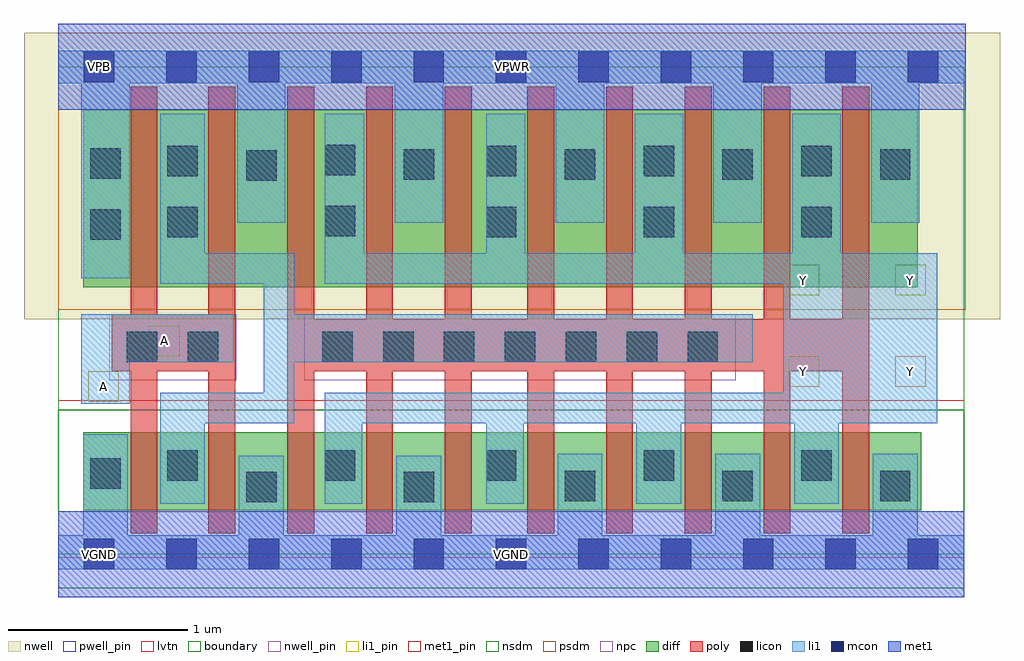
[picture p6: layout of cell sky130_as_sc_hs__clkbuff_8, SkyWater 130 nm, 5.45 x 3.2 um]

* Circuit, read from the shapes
.subckt sky130_as_sc_hs__clkbuff_8 A VGND VNB VPB VPWR Y
XM1 n1 A VGND VNB sky130_fd_pr__nfet_01v8_lvt w=0.435 l=0.15 m=2
XM2 Y n1 VGND VNB sky130_fd_pr__nfet_01v8_lvt w=0.435 l=0.15 m=8
XM3 n1 A VPWR VPB sky130_fd_pr__pfet_01v8 w=0.99 l=0.15 m=2
XM4 Y n1 VPWR VPB sky130_fd_pr__pfet_01v8 w=0.99 l=0.15 m=8
.ends

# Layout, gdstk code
import gdstk
lib = gdstk.Library(unit=1e-6, precision=1e-09)
def R(c, l, rs):  # rectangles x0, y0, x1, y1
    for r in rs: c.add(gdstk.rectangle(r[:2], r[2:], *l))
def A(c, l, x, y, w, h, nx, ny, dx, dy):  # array of equal rectangles
    R(c, l, [(x+i*dx, y+j*dy, x+i*dx+w, y+j*dy+h) for i in range(nx) for j in range(ny)])
nwell_pin = (64, 16)
nwell = (64, 20)
diff = (65, 20)
poly = (66, 20)
licon = (66, 44)
li1_pin = (67, 16)
li1 = (67, 20)
mcon = (67, 44)
met1_pin = (68, 16)
met1 = (68, 20)
nsdm = (93, 44)
psdm = (94, 20)
npc = (95, 20)
pwell_pin = (122, 16)
lvtn = (125, 44)
boundary = (235, 4)

sky130_as_sc_hs__clkbuff = lib.new_cell('sky130_as_sc_hs__clkbuff_8')
R(sky130_as_sc_hs__clkbuff, nwell_pin, [(0.145,2.635,0.315,2.805)])
R(sky130_as_sc_hs__clkbuff, nwell, [(-0.19,1.31,5.26,2.91)])
R(sky130_as_sc_hs__clkbuff, diff, [(0.14,0.245,4.82,0.68), (0.14,1.49,4.8,2.48)])
A(sky130_as_sc_hs__clkbuff, poly, 0.84, 0.115, 0.15, 0.905, 4, 1, 0.44, 0)
A(sky130_as_sc_hs__clkbuff, poly, 2.62, 0.115, 0.15, 0.905, 5, 1, 0.44, 0)
A(sky130_as_sc_hs__clkbuff, poly, 1.28, 1.31, 0.15, 1.3, 3, 1, 0.44, 0)
A(sky130_as_sc_hs__clkbuff, poly, 2.62, 1.31, 0.15, 1.3, 5, 1, 0.44, 0)
R(sky130_as_sc_hs__clkbuff, poly, [(0.405,0.115,0.555,1.02), (0.3,1.02,0.99,1.34), (1.28,1.02,4.53,1.31), (0.405,1.34,0.555,2.61), (0.84,1.34,0.99,2.61)])
A(sky130_as_sc_hs__clkbuff, licon, 2.83, 0.295, 0.17, 0.17, 3, 2, 0.88, 1.795)
A(sky130_as_sc_hs__clkbuff, licon, 2.39, 0.41, 0.17, 0.17, 3, 2, 0.88, 1.36)
A(sky130_as_sc_hs__clkbuff, licon, 1.475, 1.07, 0.17, 0.17, 7, 1, 0.34, 0)
A(sky130_as_sc_hs__clkbuff, licon, 2.39, 2.11, 0.17, 0.17, 3, 1, 0.88, 0)
R(sky130_as_sc_hs__clkbuff, licon, [(1.05,0.29,1.22,0.46), (1.93,0.29,2.1,0.46), (0.18,0.365,0.35,0.535), (0.61,0.41,0.78,0.58), (1.49,0.41,1.66,0.58), (0.385,1.07,0.555,1.24), (0.725,1.07,0.895,1.24), (0.18,1.755,0.35,1.925), (0.61,1.77,0.78,1.94), (1.49,1.775,1.66,1.945), (1.05,2.085,1.22,2.255), (1.93,2.09,2.1,2.26), (0.18,2.095,0.35,2.265), (0.61,2.11,0.78,2.28), (1.49,2.115,1.66,2.285)])
R(sky130_as_sc_hs__clkbuff, li1_pin, [(0.17,0.85,0.34,1.02), (4.08,0.935,4.25,1.105), (4.675,0.935,4.845,1.105), (0.51,1.105,0.68,1.275), (4.08,1.445,4.25,1.615), (4.675,1.445,4.845,1.615)])
A(sky130_as_sc_hs__clkbuff, li1, 2.79, 0.105, 0.25, 0.455, 3, 1, 0.88, 0)
A(sky130_as_sc_hs__clkbuff, li1, 2.78, 1.85, 0.27, 0.78, 3, 1, 0.88, 0)
R(sky130_as_sc_hs__clkbuff, li1, [(0,-0.085,5.06,0.105), (0.14,0.105,0.39,0.67), (1.01,0.105,1.26,0.55), (1.89,0.105,2.14,0.55), (0.57,0.28,0.82,0.73), (1.49,0.28,1.7,0.73), (2.39,0.28,2.6,0.73), (3.23,0.28,3.48,0.73), (4.11,0.28,4.36,0.73), (0.57,0.73,1.32,0.9), (1.49,0.73,4.91,0.9), (0.13,0.84,0.4,1.07), (1.15,0.9,1.32,1.07), (4.05,0.9,4.91,1.51), (0.13,1.07,0.98,1.34), (1.15,1.07,3.88,1.34), (1.15,1.34,1.32,1.51), (0.57,1.51,1.32,1.68), (1.49,1.51,4.91,1.68), (0.13,1.54,0.4,2.63), (0.57,1.68,0.82,2.46), (1.49,1.68,1.71,2.46), (2.39,1.68,2.61,2.46), (3.22,1.68,3.49,2.46), (4.1,1.68,4.37,2.46), (1,1.85,1.27,2.63), (1.88,1.85,2.15,2.63), (0,2.63,5.07,2.81)])
A(sky130_as_sc_hs__clkbuff, mcon, 0.145, -0.085, 0.17, 0.17, 11, 2, 0.46, 2.72)
R(sky130_as_sc_hs__clkbuff, met1_pin, [(0,-0.24,5.06,0.24), (0.145,-0.085,0.315,0.085), (0,2.48,5.07,2.96), (0.145,2.635,0.315,2.805)])
R(sky130_as_sc_hs__clkbuff, met1, [(0,-0.24,5.06,0.24), (0,2.48,5.07,2.96)])
R(sky130_as_sc_hs__clkbuff, nsdm, [(0,-0.19,5.06,0.805)])
R(sky130_as_sc_hs__clkbuff, psdm, [(0,1.365,5.07,2.91)])
R(sky130_as_sc_hs__clkbuff, npc, [(0.285,0.97,0.995,1.34), (1.375,0.97,3.785,1.34)])
R(sky130_as_sc_hs__clkbuff, pwell_pin, [(0.145,-0.085,0.315,0.085)])
R(sky130_as_sc_hs__clkbuff, lvtn, [(0,-0.02,5.06,0.86)])
R(sky130_as_sc_hs__clkbuff, boundary, [(0,0,5.06,2.72)])
sky130_as_sc_hs__clkbuff.add(gdstk.Label('VPB', (0.23,2.72), layer=64, texttype=5))
sky130_as_sc_hs__clkbuff.add(gdstk.Label('VPB', (0.23,2.72), layer=64, texttype=5))
sky130_as_sc_hs__clkbuff.add(gdstk.Label('VGND', (0.23,0), layer=68, texttype=5))
sky130_as_sc_hs__clkbuff.add(gdstk.Label('VGND', (2.53,0), layer=68, texttype=5))
sky130_as_sc_hs__clkbuff.add(gdstk.Label('VPWR', (0.23,2.72), layer=68, texttype=5))
sky130_as_sc_hs__clkbuff.add(gdstk.Label('VPWR', (2.535,2.72), layer=68, texttype=5))
sky130_as_sc_hs__clkbuff.add(gdstk.Label('VNB', (0.23,0), layer=64, texttype=59))
sky130_as_sc_hs__clkbuff.add(gdstk.Label('VNB', (0.23,0), layer=64, texttype=59))
sky130_as_sc_hs__clkbuff.add(gdstk.Label('A', (0.255,0.935), layer=67, texttype=5))
sky130_as_sc_hs__clkbuff.add(gdstk.Label('A', (0.255,0.935), layer=67, texttype=5))
sky130_as_sc_hs__clkbuff.add(gdstk.Label('A', (0.595,1.19), layer=67, texttype=5))
sky130_as_sc_hs__clkbuff.add(gdstk.Label('A', (0.595,1.19), layer=67, texttype=5))
sky130_as_sc_hs__clkbuff.add(gdstk.Label('Y', (4.165,1.02), layer=67, texttype=5))
sky130_as_sc_hs__clkbuff.add(gdstk.Label('Y', (4.165,1.02), layer=67, texttype=5))
sky130_as_sc_hs__clkbuff.add(gdstk.Label('Y', (4.76,1.02), layer=67, texttype=5))
sky130_as_sc_hs__clkbuff.add(gdstk.Label('Y', (4.76,1.02), layer=67, texttype=5))
sky130_as_sc_hs__clkbuff.add(gdstk.Label('Y', (4.165,1.53), layer=67, texttype=5))
sky130_as_sc_hs__clkbuff.add(gdstk.Label('Y', (4.165,1.53), layer=67, texttype=5))
sky130_as_sc_hs__clkbuff.add(gdstk.Label('Y', (4.76,1.53), layer=67, texttype=5))
sky130_as_sc_hs__clkbuff.add(gdstk.Label('Y', (4.76,1.53), layer=67, texttype=5))

lib.write_gds('sky130_as_sc_hs__clkbuff_8.gds')
